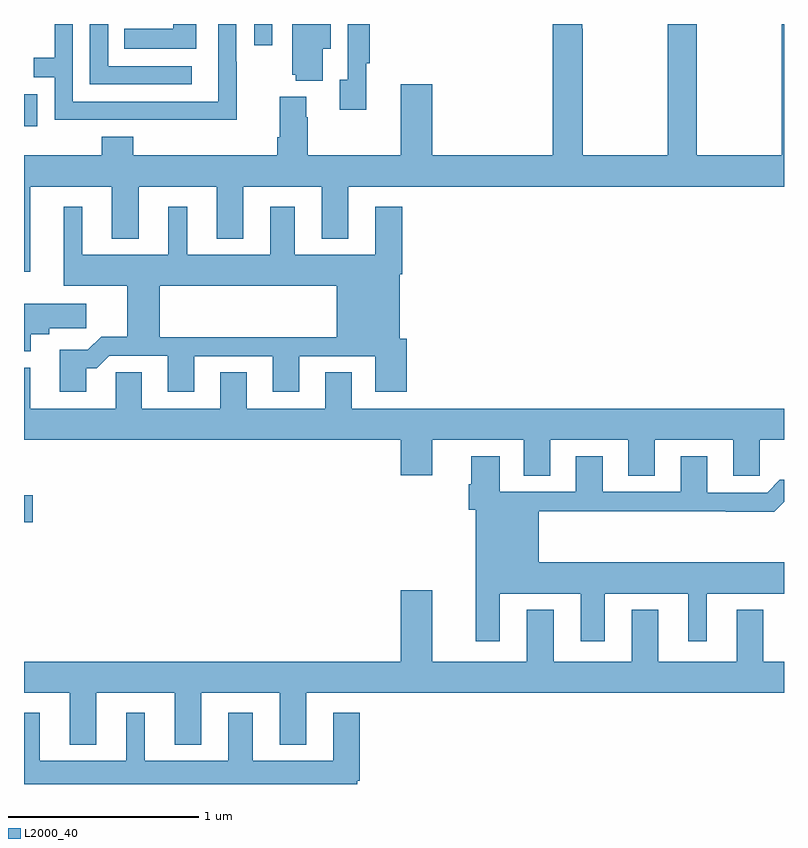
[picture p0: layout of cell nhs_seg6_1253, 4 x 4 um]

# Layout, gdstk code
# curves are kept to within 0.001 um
import gdstk
lib = gdstk.Library(unit=1e-6, precision=1e-09)
def R(c, l, rs):  # rectangles x0, y0, x1, y1
    for r in rs: c.add(gdstk.rectangle(r[:2], r[2:], *l))
def P(c, l, *ps):  # polygons
    for p in ps: c.add(gdstk.Polygon(p, *l))
L2000_40 = (2000, 40)

nhs_seg6_1253 = lib.new_cell('nhs_seg6_1253')
R(nhs_seg6_1253, L2000_40, [(187,970.877,187.045,971.019), (187,972.963,187.071,973.131), (188.211,973.389,188.307,973.5)])
P(nhs_seg6_1253, L2000_40, [(188.121,973.301),(188.118,973.301),(188.118,973.5),(188.022,973.5),(188.022,973.092),(187.257,973.092),(187.257,973.5),(187.161,973.5),(187.161,973.322),(187.051,973.322),(187.051,973.221),(187.161,973.221),(187.161,972.996),(187.657,972.996),(187.657,972.995),(188.121,972.995)],
  [(187.906,973.5),(187.785,973.5),(187.785,973.474),(187.528,973.474),(187.528,973.37),(187.906,973.37)],
  [(187.033,972.644),(187.463,972.644),(187.463,972.371),(187.603,972.371),(187.603,972.644),(188.015,972.644),(188.015,972.371),(188.155,972.371),(188.155,972.644),(188.567,972.644),(188.567,972.371),(188.707,972.371),(188.707,972.644),(191,972.644),(191,973.5),(190.987,973.5),(190.987,972.808),(190.542,972.808),(190.542,973.5),(190.387,973.5),(190.387,972.808),(189.942,972.808),(189.942,973.475),(189.937,973.475),(189.937,973.5),(189.782,973.5),(189.782,972.808),(189.148,972.808),(189.148,973.183),(188.984,973.183),(188.984,972.808),(188.493,972.808),(188.493,973.01),(188.485,973.01),(188.485,973.117),(188.345,973.117),(188.345,972.904),(188.333,972.904),(188.333,972.808),(187.574,972.808),(187.574,972.907),(187.409,972.907),(187.409,972.808),(187,972.808),(187,972.195),(187.033,972.195)],
  [(188.572,973.37),(188.614,973.37),(188.614,973.5),(188.411,973.5),(188.411,973.233),(188.429,973.233),(188.429,973.202),(188.572,973.202)],
  [(188.801,973.294),(188.819,973.294),(188.819,973.5),(188.703,973.5),(188.703,973.206),(188.663,973.206),(188.663,973.05),(188.801,973.05)],
  [(187.882,973.278),(187.443,973.278),(187.443,973.5),(187.347,973.5),(187.347,973.182),(187.882,973.182)],
  [(187.187,971.785),(187.187,971.565),(187.327,971.565),(187.327,971.687),(187.382,971.687),(187.449,971.754),(187.757,971.754),(187.757,971.565),(187.897,971.565),(187.897,971.751),(188.309,971.751),(188.309,971.565),(188.449,971.565),(188.449,971.751),(188.849,971.751),(188.849,971.565),(189.014,971.565),(189.014,971.844),(188.977,971.844),(188.977,972.182),(188.99,972.182),(188.99,972.538),(188.849,972.538),(188.849,972.286),(188.425,972.286),(188.425,972.538),(188.297,972.538),(188.297,972.286),(187.858,972.286),(187.858,972.538),(187.76,972.538),(187.76,972.286),(187.306,972.286),(187.306,972.538),(187.208,972.538),(187.208,972.122),(187.544,972.122),(187.544,971.855),(187.406,971.855),(187.403,971.852),(187.715,971.852),(187.715,972.122),(188.645,972.122),(188.645,971.852),(187.403,971.852),(187.336,971.785)],
  [(187.036,971.867),(187.132,971.867),(187.132,971.899),(187.327,971.899),(187.327,972.028),(187,972.028),(187,971.777),(187.036,971.777)],
  [(189.769,971.312),(190.181,971.312),(190.181,971.122),(190.321,971.122),(190.321,971.312),(190.733,971.312),(190.733,971.122),(190.872,971.122),(190.872,971.312),(191,971.312),(191,971.476),(188.725,971.476),(188.725,971.666),(188.585,971.666),(188.585,971.476),(188.173,971.476),(188.173,971.666),(188.033,971.666),(188.033,971.476),(187.621,971.476),(187.621,971.666),(187.482,971.666),(187.482,971.476),(187.033,971.476),(187.033,971.692),(187,971.692),(187,971.312),(188.984,971.312),(188.984,971.124),(189.148,971.124),(189.148,971.312),(189.629,971.312),(189.629,971.122),(189.769,971.122)],
  [(189.505,970.502),(189.929,970.502),(189.929,970.251),(190.057,970.251),(190.057,970.502),(190.496,970.502),(190.496,970.251),(190.594,970.251),(190.594,970.502),(191,970.502),(191,970.666),(189.709,970.666),(189.709,970.936),(190.693,970.936),(190.693,970.934),(190.949,970.934),(191,970.985),(191,971.101),(190.978,971.101),(190.911,971.034),(190.597,971.034),(190.597,971.224),(190.457,971.224),(190.457,971.037),(190.045,971.037),(190.045,971.224),(189.905,971.224),(189.905,971.037),(189.505,971.037),(189.505,971.224),(189.353,971.224),(189.353,971.078),(189.341,971.078),(189.341,970.944),(189.377,970.944),(189.377,970.251),(189.505,970.251)],
  [(187.381,969.98),(187.793,969.98),(187.793,969.707),(187.933,969.707),(187.933,969.98),(188.345,969.98),(188.345,969.707),(188.485,969.707),(188.485,969.98),(191,969.98),(191,970.144),(190.891,970.144),(190.891,970.417),(190.751,970.417),(190.751,970.144),(190.339,970.144),(190.339,970.417),(190.199,970.417),(190.199,970.144),(189.787,970.144),(189.787,970.417),(189.647,970.417),(189.647,970.144),(189.148,970.144),(189.148,970.519),(188.984,970.519),(188.984,970.144),(187,970.144),(187,969.98),(187.241,969.98),(187.241,969.707),(187.381,969.707)],
  [(188.755,969.518),(188.768,969.518),(188.768,969.874),(188.627,969.874),(188.627,969.622),(188.203,969.622),(188.203,969.874),(188.075,969.874),(188.075,969.622),(187.636,969.622),(187.636,969.874),(187.538,969.874),(187.538,969.622),(187.084,969.622),(187.084,969.874),(187,969.874),(187,969.5),(188.755,969.5)])

lib.write_gds('nhs_seg6_1253.gds')
